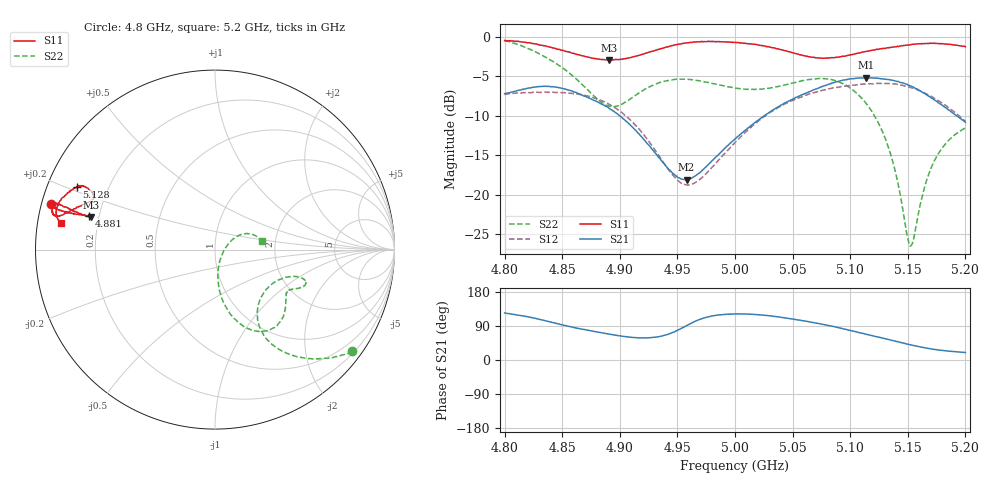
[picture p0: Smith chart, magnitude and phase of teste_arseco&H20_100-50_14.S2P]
! Network Analyzer HP8722D
! Hewlett-Packard
! Data name: Linha & Wilkinson
! Saver's name: Rodrigo Anjos
! Comments: Teste da utilização de aquisição
! continua pelo VNA HP8722D
! Time and date: 6/5/2025 12:41
!  Frequency  S11  S21  S12  S22
# HZ  S  MA R 50
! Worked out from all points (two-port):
!   401 points, 4.8 GHz to 5.2 GHz, reference 50 ohm
!   highest |S21| = -5.16 dB at 5.114 GHz (marker M1); lowest = -18.1 dB at 4.958 GHz (marker M2)
!   |S21| within 3 dB of the highest: start of sweep to 4.88 GHz; 5.046 GHz to 5.175 GHz (128.9 MHz wide, 2.52 % of centre)
!   lowest |S11| = -2.9 dB at 4.891 GHz (marker M3), VSWR 5.99, Z = 8.47 + j6.24 ohm
!   |S11| at or under -10 dB: nowhere
!   |S22| runs from -26.6 to -0.4 dB; largest |S21 - S12| = 0.71
!   S11 on the Smith chart (normalised r, x): 4.8 GHz: 0.03, +0.14; 4.881 GHz: 0.16, +0.13; 5.128 GHz: 0.09, +0.21; 5.2 GHz: 0.07, +0.08
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4.8e9  0.9503 164.5  0.4375 124.1  0.4326 19.3  0.9517 -36.5
4.834e9  0.8819 165.9  0.487 104.7  0.4478 9.0  0.7567 -52.2
4.867e9  0.7618 165.4  0.4288 81.3  0.431 -4.8  0.5023 -60.1
4.881e9  0.7265 165.0  0.3869 73.7  0.4039 -13.1  0.4017 -53.6
4.891e9  0.7141 165.4  0.3513 68.0  0.3738 -19.1  0.3639 -42.5
4.911e9  0.7473 165.4  0.268 59.7  0.2883 -30.3  0.4136 -22.5
4.934e9  0.8369 164.4  0.1716 61.6  0.1765 -32.5  0.5122 -18.2
4.958e9  0.9179 163.7  0.1243 91.0  0.1152 -1.4  0.5398 -21.4
5e9  0.925 167.5  0.2255 121.5  0.2143 40.0  0.4744 -28.1
5.034e9  0.8541 166.1  0.3476 115.0  0.345 36.2  0.4794 -34.6
5.067e9  0.7454 158.8  0.4585 99.6  0.4415 22.0  0.5404 -47.6
5.092e9  0.7513 155.3  0.5278 83.9  0.485 8.3  0.5127 -62.6
5.114e9  0.8105 154.3  0.552 68.0  0.5042 -4.8  0.3776 -75.9
5.128e9  0.8444 155.6  0.5421 57.9  0.5071 -13.7  0.2512 -82.8
5.134e9  0.8561 156.5  0.5351 53.5  0.5063 -17.8  0.1917 -84.4
5.141e9  0.8743 158.1  0.5225 48.6  0.5007 -22.6  0.1224 -82.0
5.15e9  0.8893 160.3  0.4968 41.6  0.4847 -28.6  0.0525 -48.5
5.153e9  0.8954 161.0  0.4876 39.7  0.4772 -30.8  0.0475 -18.8
5.164e9  0.9092 163.9  0.4403 32.5  0.4434 -37.6  0.1076 29.3
5.172e9  0.9129 165.7  0.4045 28.4  0.4132 -42.0  0.1578 30.5
5.185e9  0.9016 168.1  0.3455 23.5  0.3573 -47.8  0.2193 23.5
5.2e9  0.8686 170.2  0.2877 19.8  0.2915 -51.9  0.2642 10.2
